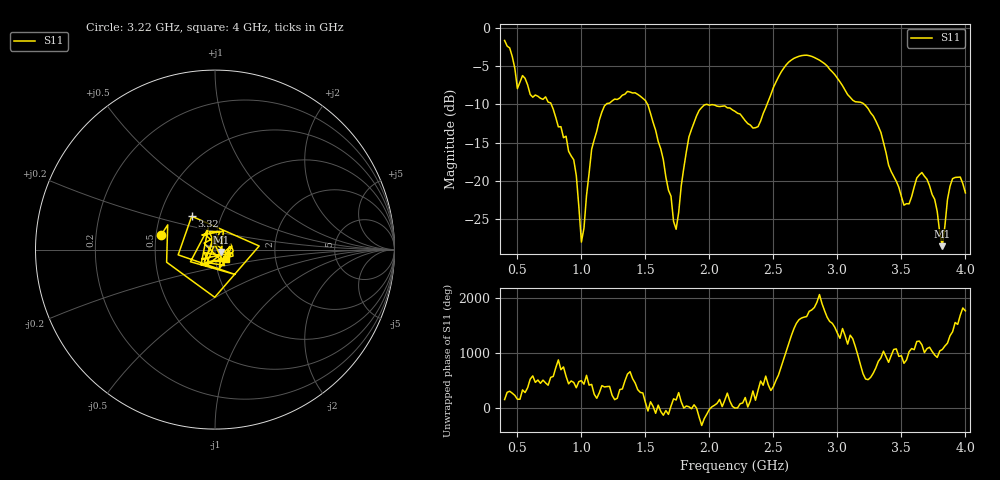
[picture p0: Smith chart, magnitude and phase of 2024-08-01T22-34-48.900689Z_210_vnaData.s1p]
!Created with skrf (http://scikit-rf.org).
# Hz S RI R 50.0
!freq ReS11 ImS11
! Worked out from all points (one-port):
!   181 points, 400 MHz to 4 GHz, reference 50 ohm
!   lowest |S11| = -28.6 dB at 3.82 GHz (marker M1), VSWR 1.08, Z = 53.6 - j1.36 ohm
!   |S11| at or under -10 dB: 1.518 GHz to 1.975 GHz (457.2 MHz wide, 26.2 % of centre); 1.984 GHz to 2.45 GHz (466.2 MHz wide, 21 % of centre); 3.211 GHz to end of sweep (the widest 3 of 4)
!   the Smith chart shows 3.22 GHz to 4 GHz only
!   S11 on the Smith chart (normalised r, x): 3.22 GHz: 0.53, +0.09; 3.32 GHz: 0.72, +0.28; 4 GHz: 1.13, -0.12
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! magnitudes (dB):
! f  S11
! 400 MHz  -1.6
! 500 MHz  -7.9
! 720 MHz  -9.0
! 860 MHz  -14.4
! 940 MHz  -17.3
! 1 GHz  -28.1
! 1.08 GHz  -15.9
! 1.14 GHz  -12.0
! 1.3 GHz  -9.1
! 1.52 GHz  -10.1
! 1.64 GHz  -17.3
! 1.72 GHz  -25.4
! 1.76 GHz  -24.2
! 1.84 GHz  -14.3
! 1.92 GHz  -10.8
! 2.2 GHz  -10.9
! 2.38 GHz  -12.9
! 2.66 GHz  -3.9
! 2.9 GHz  -4.6
! 3.1 GHz  -9.1
! 3.22 GHz  -10.1
! 3.32 GHz  -12.9
! 3.56 GHz  -23.0
! 3.66 GHz  -18.9
! 3.76 GHz  -22.5
! 3.82 GHz  -28.6
! 3.9 GHz  -19.7
! 4 GHz  -21.6
